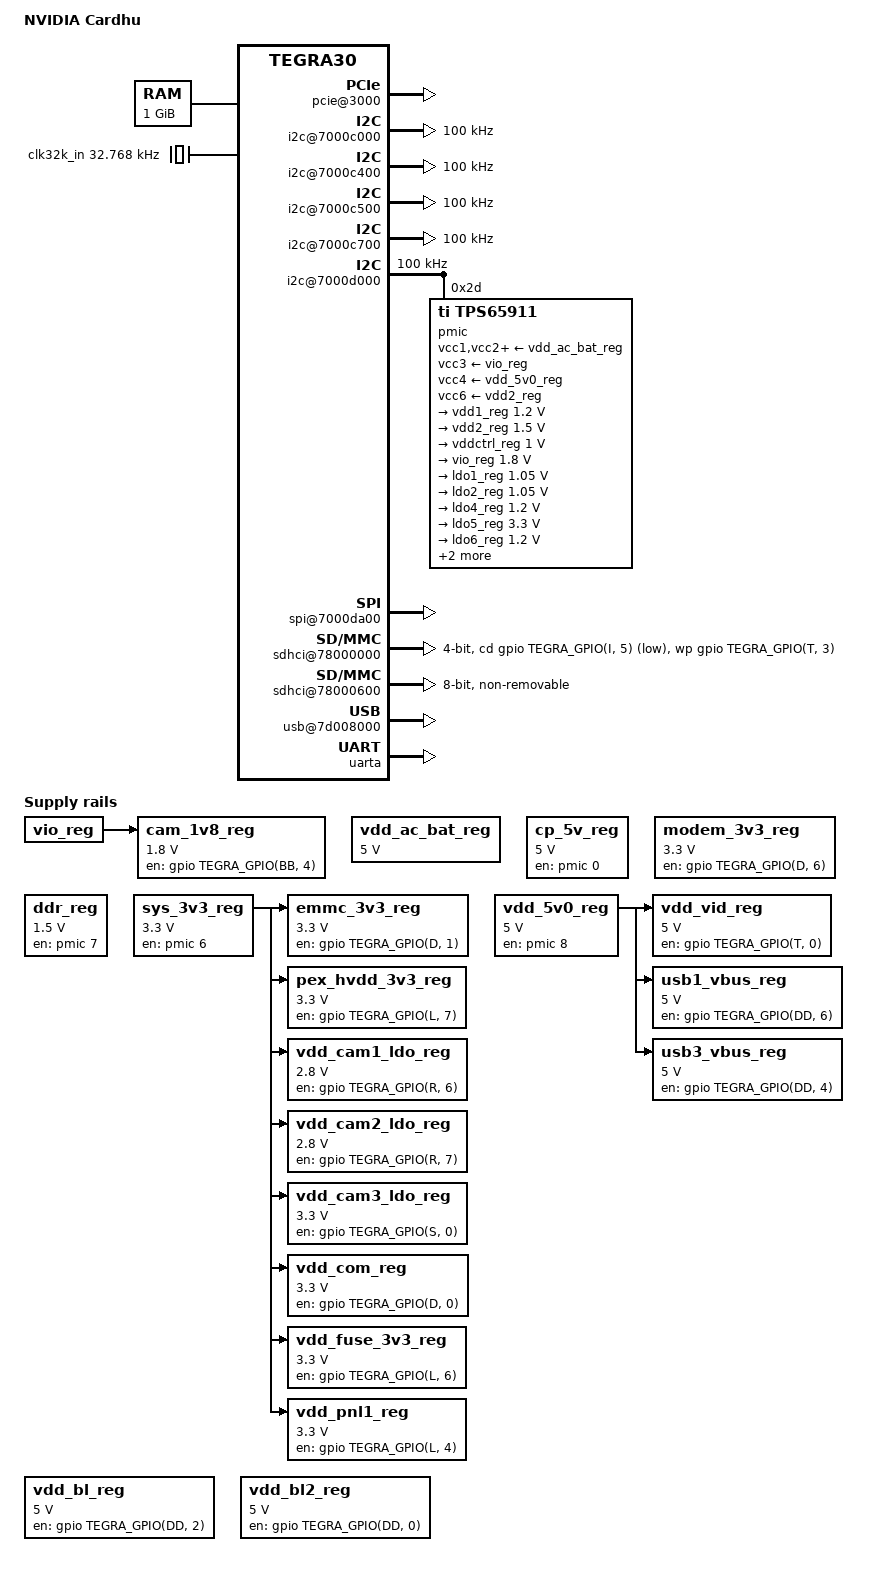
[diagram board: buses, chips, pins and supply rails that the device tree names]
/dts-v1/;

#include "tegra30.dtsi"

/ {
	model = "NVIDIA Cardhu";
	compatible = "nvidia,cardhu", "nvidia,tegra30";

	chosen {
		stdout-path = &uarta;
	};

	aliases {
		i2c0 = "/i2c@7000d000";
		i2c1 = "/i2c@7000c000";
		i2c2 = "/i2c@7000c400";
		i2c3 = "/i2c@7000c500";
		i2c4 = "/i2c@7000c700";
		mmc0 = "/sdhci@78000600";
		mmc1 = "/sdhci@78000000";
		spi0 = "/spi@7000da00";
		usb0 = "/usb@7d008000";
	};

	memory {
		device_type = "memory";
		reg = <0x80000000 0x40000000>;
	};

	pcie@3000 {
		status = "okay";

		/* AVDD_PEXA and VDD_PEXA inputs are grounded on Cardhu. */
		avdd-pexb-supply = <&ldo1_reg>;
		vdd-pexb-supply = <&ldo1_reg>;
		avdd-pex-pll-supply = <&ldo1_reg>;
		hvdd-pex-supply = <&pex_hvdd_3v3_reg>;
		vddio-pex-ctl-supply = <&sys_3v3_reg>;
		avdd-plle-supply = <&ldo2_reg>;

		pci@1,0 {
			nvidia,num-lanes = <4>;
		};

		pci@2,0 {
			nvidia,num-lanes = <1>;
		};

		pci@3,0 {
			status = "okay";
			nvidia,num-lanes = <1>;
		};
	};

	i2c@7000c000 {
		status = "okay";
		clock-frequency = <100000>;
	};

	i2c@7000c400 {
		status = "okay";
		clock-frequency = <100000>;
	};

	i2c@7000c500 {
		status = "okay";
		clock-frequency = <100000>;
	};

	i2c@7000c700 {
		status = "okay";
		clock-frequency = <100000>;
	};

	i2c@7000d000 {
		status = "okay";
		clock-frequency = <100000>;

		pmic: tps65911@2d {
			compatible = "ti,tps65911";
			reg = <0x2d>;

			interrupts = <GIC_SPI 86 IRQ_TYPE_LEVEL_HIGH>;
			#interrupt-cells = <2>;
			interrupt-controller;

			ti,system-power-controller;

			#gpio-cells = <2>;
			gpio-controller;

			vcc1-supply = <&vdd_ac_bat_reg>;
			vcc2-supply = <&vdd_ac_bat_reg>;
			vcc3-supply = <&vio_reg>;
			vcc4-supply = <&vdd_5v0_reg>;
			vcc5-supply = <&vdd_ac_bat_reg>;
			vcc6-supply = <&vdd2_reg>;
			vcc7-supply = <&vdd_ac_bat_reg>;
			vccio-supply = <&vdd_ac_bat_reg>;

			regulators {
				vdd1_reg: vdd1 {
					regulator-name = "vddio_ddr_1v2";
					regulator-min-microvolt = <1200000>;
					regulator-max-microvolt = <1200000>;
					regulator-always-on;
				};

				vdd2_reg: vdd2 {
					regulator-name = "vdd_1v5_gen";
					regulator-min-microvolt = <1500000>;
					regulator-max-microvolt = <1500000>;
					regulator-always-on;
				};

				vddctrl_reg: vddctrl {
					regulator-name = "vdd_cpu,vdd_sys";
					regulator-min-microvolt = <1000000>;
					regulator-max-microvolt = <1000000>;
					regulator-always-on;
				};

				vio_reg: vio {
					regulator-name = "vdd_1v8_gen";
					regulator-min-microvolt = <1800000>;
					regulator-max-microvolt = <1800000>;
					regulator-always-on;
				};

				ldo1_reg: ldo1 {
					regulator-name = "vdd_pexa,vdd_pexb";
					regulator-min-microvolt = <1050000>;
					regulator-max-microvolt = <1050000>;
				};

				ldo2_reg: ldo2 {
					regulator-name = "vdd_sata,avdd_plle";
					regulator-min-microvolt = <1050000>;
					regulator-max-microvolt = <1050000>;
				};

				/* LDO3 is not connected to anything */

				ldo4_reg: ldo4 {
					regulator-name = "vdd_rtc";
					regulator-min-microvolt = <1200000>;
					regulator-max-microvolt = <1200000>;
					regulator-always-on;
				};

				ldo5_reg: ldo5 {
					regulator-name = "vddio_sdmmc,avdd_vdac";
					regulator-min-microvolt = <3300000>;
					regulator-max-microvolt = <3300000>;
					regulator-always-on;
				};

				ldo6_reg: ldo6 {
					regulator-name = "avdd_dsi_csi,pwrdet_mipi";
					regulator-min-microvolt = <1200000>;
					regulator-max-microvolt = <1200000>;
				};

				ldo7_reg: ldo7 {
					regulator-name = "vdd_pllm,x,u,a_p_c_s";
					regulator-min-microvolt = <1200000>;
					regulator-max-microvolt = <1200000>;
					regulator-always-on;
				};

				ldo8_reg: ldo8 {
					regulator-name = "vdd_ddr_hs";
					regulator-min-microvolt = <1000000>;
					regulator-max-microvolt = <1000000>;
					regulator-always-on;
				};
			};
		};
	};

	spi@7000da00 {
		status = "okay";
		spi-max-frequency = <25000000>;
	};

	sdhci@78000000 {
		status = "okay";
		cd-gpios = <&gpio TEGRA_GPIO(I, 5) GPIO_ACTIVE_LOW>;
		wp-gpios = <&gpio TEGRA_GPIO(T, 3) GPIO_ACTIVE_HIGH>;
		power-gpios = <&gpio TEGRA_GPIO(D, 7) GPIO_ACTIVE_HIGH>;
		bus-width = <4>;
	};

	sdhci@78000600 {
		status = "okay";
		bus-width = <8>;
		non-removable;
	};

	usb@7d008000 {
		nvidia,vbus-gpio = <&gpio TEGRA_GPIO(DD, 4) GPIO_ACTIVE_HIGH>;
		status = "okay";
	};

	clocks {
		compatible = "simple-bus";
		#address-cells = <1>;
		#size-cells = <0>;

		clk32k_in: clock@0 {
			compatible = "fixed-clock";
			reg=<0>;
			#clock-cells = <0>;
			clock-frequency = <32768>;
		};
	};

	regulators {
		compatible = "simple-bus";
		#address-cells = <1>;
		#size-cells = <0>;

		vdd_ac_bat_reg: regulator@0 {
			compatible = "regulator-fixed";
			reg = <0>;
			regulator-name = "vdd_ac_bat";
			regulator-min-microvolt = <5000000>;
			regulator-max-microvolt = <5000000>;
			regulator-always-on;
		};

		cam_1v8_reg: regulator@1 {
			compatible = "regulator-fixed";
			reg = <1>;
			regulator-name = "cam_1v8";
			regulator-min-microvolt = <1800000>;
			regulator-max-microvolt = <1800000>;
			enable-active-high;
			gpio = <&gpio TEGRA_GPIO(BB, 4) GPIO_ACTIVE_HIGH>;
			vin-supply = <&vio_reg>;
		};

		cp_5v_reg: regulator@2 {
			compatible = "regulator-fixed";
			reg = <2>;
			regulator-name = "cp_5v";
			regulator-min-microvolt = <5000000>;
			regulator-max-microvolt = <5000000>;
			regulator-boot-on;
			regulator-always-on;
			enable-active-high;
			gpio = <&pmic 0 GPIO_ACTIVE_HIGH>;
		};

		emmc_3v3_reg: regulator@3 {
			compatible = "regulator-fixed";
			reg = <3>;
			regulator-name = "emmc_3v3";
			regulator-min-microvolt = <3300000>;
			regulator-max-microvolt = <3300000>;
			regulator-always-on;
			regulator-boot-on;
			enable-active-high;
			gpio = <&gpio TEGRA_GPIO(D, 1) GPIO_ACTIVE_HIGH>;
			vin-supply = <&sys_3v3_reg>;
		};

		modem_3v3_reg: regulator@4 {
			compatible = "regulator-fixed";
			reg = <4>;
			regulator-name = "modem_3v3";
			regulator-min-microvolt = <3300000>;
			regulator-max-microvolt = <3300000>;
			enable-active-high;
			gpio = <&gpio TEGRA_GPIO(D, 6) GPIO_ACTIVE_HIGH>;
		};

		pex_hvdd_3v3_reg: regulator@5 {
			compatible = "regulator-fixed";
			reg = <5>;
			regulator-name = "pex_hvdd_3v3";
			regulator-min-microvolt = <3300000>;
			regulator-max-microvolt = <3300000>;
			enable-active-high;
			gpio = <&gpio TEGRA_GPIO(L, 7) GPIO_ACTIVE_HIGH>;
			vin-supply = <&sys_3v3_reg>;
		};

		vdd_cam1_ldo_reg: regulator@6 {
			compatible = "regulator-fixed";
			reg = <6>;
			regulator-name = "vdd_cam1_ldo";
			regulator-min-microvolt = <2800000>;
			regulator-max-microvolt = <2800000>;
			enable-active-high;
			gpio = <&gpio TEGRA_GPIO(R, 6) GPIO_ACTIVE_HIGH>;
			vin-supply = <&sys_3v3_reg>;
		};

		vdd_cam2_ldo_reg: regulator@7 {
			compatible = "regulator-fixed";
			reg = <7>;
			regulator-name = "vdd_cam2_ldo";
			regulator-min-microvolt = <2800000>;
			regulator-max-microvolt = <2800000>;
			enable-active-high;
			gpio = <&gpio TEGRA_GPIO(R, 7) GPIO_ACTIVE_HIGH>;
			vin-supply = <&sys_3v3_reg>;
		};

		vdd_cam3_ldo_reg: regulator@8 {
			compatible = "regulator-fixed";
			reg = <8>;
			regulator-name = "vdd_cam3_ldo";
			regulator-min-microvolt = <3300000>;
			regulator-max-microvolt = <3300000>;
			enable-active-high;
			gpio = <&gpio TEGRA_GPIO(S, 0) GPIO_ACTIVE_HIGH>;
			vin-supply = <&sys_3v3_reg>;
		};

		vdd_com_reg: regulator@9 {
			compatible = "regulator-fixed";
			reg = <9>;
			regulator-name = "vdd_com";
			regulator-min-microvolt = <3300000>;
			regulator-max-microvolt = <3300000>;
			regulator-always-on;
			regulator-boot-on;
			enable-active-high;
			gpio = <&gpio TEGRA_GPIO(D, 0) GPIO_ACTIVE_HIGH>;
			vin-supply = <&sys_3v3_reg>;
		};

		vdd_fuse_3v3_reg: regulator@10 {
			compatible = "regulator-fixed";
			reg = <10>;
			regulator-name = "vdd_fuse_3v3";
			regulator-min-microvolt = <3300000>;
			regulator-max-microvolt = <3300000>;
			enable-active-high;
			gpio = <&gpio TEGRA_GPIO(L, 6) GPIO_ACTIVE_HIGH>;
			vin-supply = <&sys_3v3_reg>;
		};

		vdd_pnl1_reg: regulator@11 {
			compatible = "regulator-fixed";
			reg = <11>;
			regulator-name = "vdd_pnl1";
			regulator-min-microvolt = <3300000>;
			regulator-max-microvolt = <3300000>;
			regulator-always-on;
			regulator-boot-on;
			enable-active-high;
			gpio = <&gpio TEGRA_GPIO(L, 4) GPIO_ACTIVE_HIGH>;
			vin-supply = <&sys_3v3_reg>;
		};

		vdd_vid_reg: regulator@12 {
			compatible = "regulator-fixed";
			reg = <12>;
			regulator-name = "vddio_vid";
			regulator-min-microvolt = <5000000>;
			regulator-max-microvolt = <5000000>;
			enable-active-high;
			gpio = <&gpio TEGRA_GPIO(T, 0) GPIO_ACTIVE_HIGH>;
			gpio-open-drain;
			vin-supply = <&vdd_5v0_reg>;
		};

		ddr_reg: regulator@100 {
			compatible = "regulator-fixed";
			regulator-name = "ddr";
			reg = <100>;
			regulator-min-microvolt = <1500000>;
			regulator-max-microvolt = <1500000>;
			regulator-always-on;
			regulator-boot-on;
			enable-active-high;
			gpio = <&pmic 7 GPIO_ACTIVE_HIGH>;
		};

		sys_3v3_reg: regulator@101 {
			compatible = "regulator-fixed";
			reg = <101>;
			regulator-name = "sys_3v3";
			regulator-min-microvolt = <3300000>;
			regulator-max-microvolt = <3300000>;
			regulator-always-on;
			regulator-boot-on;
			enable-active-high;
			gpio = <&pmic 6 GPIO_ACTIVE_HIGH>;
		};

		usb1_vbus_reg: regulator@102 {
			compatible = "regulator-fixed";
			reg = <102>;
			regulator-name = "usb1_vbus";
			regulator-min-microvolt = <5000000>;
			regulator-max-microvolt = <5000000>;
			enable-active-high;
			gpio = <&gpio TEGRA_GPIO(DD, 6) GPIO_ACTIVE_HIGH>;
			gpio-open-drain;
			vin-supply = <&vdd_5v0_reg>;
		};

		usb3_vbus_reg: regulator@103 {
			compatible = "regulator-fixed";
			reg = <103>;
			regulator-name = "usb3_vbus";
			regulator-min-microvolt = <5000000>;
			regulator-max-microvolt = <5000000>;
			enable-active-high;
			gpio = <&gpio TEGRA_GPIO(DD, 4) GPIO_ACTIVE_HIGH>;
			gpio-open-drain;
			vin-supply = <&vdd_5v0_reg>;
		};

		vdd_5v0_reg: regulator@104 {
			compatible = "regulator-fixed";
			reg = <104>;
			regulator-name = "5v0";
			regulator-min-microvolt = <5000000>;
			regulator-max-microvolt = <5000000>;
			enable-active-high;
			gpio = <&pmic 8 GPIO_ACTIVE_HIGH>;
		};

		vdd_bl_reg: regulator@105 {
			compatible = "regulator-fixed";
			reg = <105>;
			regulator-name = "vdd_bl";
			regulator-min-microvolt = <5000000>;
			regulator-max-microvolt = <5000000>;
			regulator-always-on;
			regulator-boot-on;
			enable-active-high;
			gpio = <&gpio TEGRA_GPIO(DD, 2) GPIO_ACTIVE_HIGH>;
		};

		vdd_bl2_reg: regulator@106 {
			compatible = "regulator-fixed";
			reg = <106>;
			regulator-name = "vdd_bl2";
			regulator-min-microvolt = <5000000>;
			regulator-max-microvolt = <5000000>;
			regulator-always-on;
			regulator-boot-on;
			enable-active-high;
			gpio = <&gpio TEGRA_GPIO(DD, 0) GPIO_ACTIVE_HIGH>;
		};
	};
};

&uarta {
	status = "okay";
};
